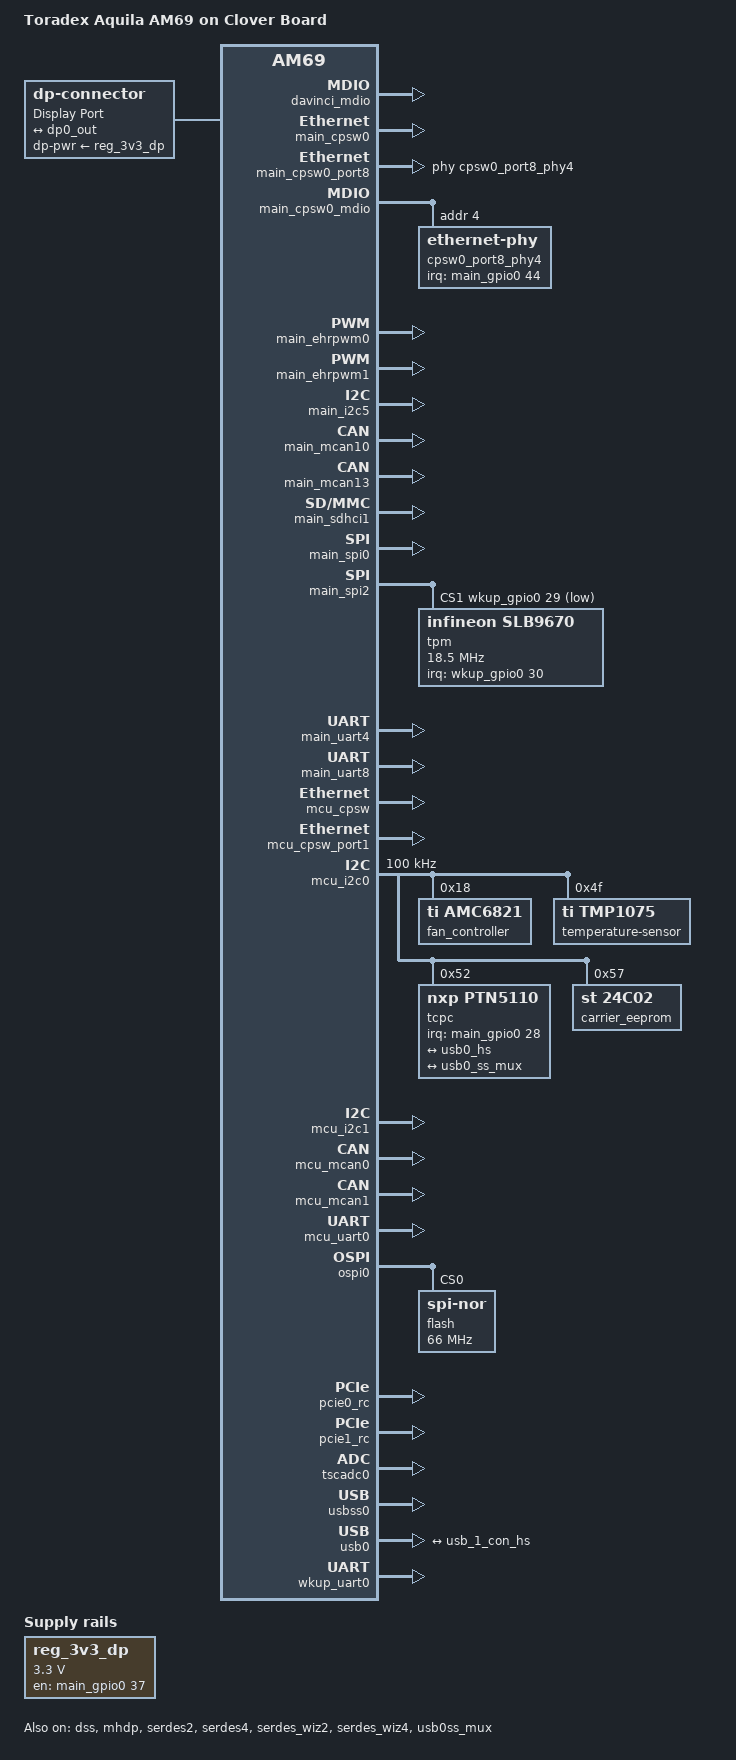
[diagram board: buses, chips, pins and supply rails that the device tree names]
// SPDX-License-Identifier: GPL-2.0-or-later OR MIT
/*
 * Copyright (C) 2025 Toradex
 *
 * https://www.toradex.com/computer-on-modules/aquila-arm-family/ti-am69
 * https://www.toradex.com/products/carrier-board/clover
 */

/dts-v1/;

#include <dt-bindings/pwm/pwm.h>
#include "k3-am69-aquila.dtsi"

/ {
	model = "Toradex Aquila AM69 on Clover Board";
	compatible = "toradex,aquila-am69-clover",
		     "toradex,aquila-am69",
		     "ti,j784s4";

	aliases {
		eeprom1 = &carrier_eeprom;
	};

	reg_3v3_dp: regulator-3v3-dp {
		compatible = "regulator-fixed";
		pinctrl-names = "default";
		pinctrl-0 = <&pinctrl_gpio_21_dp>;
		/* Aquila GPIO_21_DP (AQUILA B57) */
		gpio = <&main_gpio0 37 GPIO_ACTIVE_HIGH>;
		enable-active-high;
		regulator-max-microvolt = <3300000>;
		regulator-min-microvolt = <3300000>;
		regulator-name = "DP_3V3";
		startup-delay-us = <10000>;
	};

	/* Aquila DP_1 */
	dp-connector {
		compatible = "dp-connector";
		dp-pwr-supply = <&reg_3v3_dp>;
		label = "Display Port";
		type = "full-size";

		port {
			dp_connector_in: endpoint {
				remote-endpoint = <&dp0_out>;
			};
		};
	};
};

/* On-module ETH_1 MDIO */
&davinci_mdio {
	status = "okay";
};

&dp0_ports {
	port@4 {
		reg = <4>;
		dp0_out: endpoint {
			remote-endpoint = <&dp_connector_in>;
		};
	};
};

&dss {
	status = "okay";
};

&main0_thermal {
	cooling-maps {
		map0 {
			cooling-device = <&fan 1 1>;
			trip = <&main0_alert0>;
		};

		map1 {
			cooling-device = <&fan 2 2>;
			trip = <&main0_alert1>;
		};
	};
};

&main1_thermal {
	cooling-maps {
		map0 {
			cooling-device = <&fan 1 1>;
			trip = <&main1_alert0>;
		};

		map1 {
			cooling-device = <&fan 2 2>;
			trip = <&main1_alert1>;
		};
	};
};

&main2_thermal {
	cooling-maps {
		map0 {
			cooling-device = <&fan 1 1>;
			trip = <&main2_alert0>;
		};

		map1 {
			cooling-device = <&fan 2 2>;
			trip = <&main2_alert1>;
		};
	};
};

&main3_thermal {
	cooling-maps {
		map0 {
			cooling-device = <&fan 1 1>;
			trip = <&main3_alert0>;
		};

		map1 {
			cooling-device = <&fan 2 2>;
			trip = <&main3_alert1>;
		};
	};
};

&main4_thermal {
	cooling-maps {
		map0 {
			cooling-device = <&fan 1 1>;
			trip = <&main4_alert0>;
		};

		map1 {
			cooling-device = <&fan 2 2>;
			trip = <&main4_alert1>;
		};
	};
};

/* Aquila ETH_2 */
&main_cpsw0 {
	status = "okay";
};

/* Aquila ETH_2 SGMII PHY */
&main_cpsw0_port8  {
	phy-handle = <&cpsw0_port8_phy4>;
	status = "okay";
};

/* Aquila ETH_2_XGMII_MDIO */
&main_cpsw0_mdio {
	status = "okay";

	cpsw0_port8_phy4: ethernet-phy@4 {
		reg = <4>;
		pinctrl-names = "default";
		pinctrl-0 = <&pinctrl_eth2_int>;
		interrupt-parent = <&main_gpio0>;
		interrupts = <44 IRQ_TYPE_EDGE_FALLING>;
	};
};

/* Aquila PWM_1 */
&main_ehrpwm0 {
	status = "okay";
};

/* Aquila PWM_2 */
&main_ehrpwm1 {
	status = "okay";
};

&main_gpio0 {
	pinctrl-names = "default";
	pinctrl-0 = <&pinctrl_gpio_01>, /* Aquila GPIO_01 */
		    <&pinctrl_gpio_02>, /* Aquila GPIO_02 */
		    <&pinctrl_gpio_03>; /* Aquila GPIO_03 */
};

/* Aquila I2C_6 */
&main_i2c5 {
	status = "okay";
};

/* Aquila CAN_1 */
&main_mcan10 {
	status = "okay";
};

/* Aquila CAN_3 */
&main_mcan13 {
	status = "okay";
};

/* Aquila SD_1 */
&main_sdhci1 {
	status = "okay";
};

/* Aquila SPI_2 */
&main_spi0 {
	status = "okay";
};

/* Aquila SPI_1 */
&main_spi2 {
	pinctrl-0 = <&pinctrl_main_spi2>,
		    <&pinctrl_main_spi2_cs0>,
		    <&pinctrl_gpio_05>;
	cs-gpios = <&main_gpio0 39 GPIO_ACTIVE_LOW>,
		   <&wkup_gpio0 29 GPIO_ACTIVE_LOW>;
	status = "okay";

	tpm@1 {
		compatible = "infineon,slb9670", "tcg,tpm_tis-spi";
		reg = <1>;
		pinctrl-names = "default";
		pinctrl-0 = <&pinctrl_gpio_06>;
		interrupt-parent = <&wkup_gpio0>;
		interrupts = <30 IRQ_TYPE_EDGE_FALLING>;
		spi-max-frequency = <18500000>;
	};
};

/* Aquila UART_1 */
&main_uart4 {
	status = "okay";
};

/* Aquila UART_3, used as the Linux console */
&main_uart8 {
	status = "okay";
};

&mcu_cpsw {
	status = "okay";
};

/* On-module ETH_1 RGMII */
&mcu_cpsw_port1 {
	status = "okay";
};

/* Aquila I2C_1 */
&mcu_i2c0 {
	clock-frequency = <100000>;
	status = "okay";

	fan_controller: fan@18 {
		compatible = "ti,amc6821";
		reg = <0x18>;
		#pwm-cells = <2>;

		fan: fan {
			cooling-levels = <102 179 255>;
			#cooling-cells = <2>;
			pwms = <&fan_controller 40000 PWM_POLARITY_INVERTED>;
		};
	};

	temperature-sensor@4f {
		compatible = "ti,tmp1075";
		reg = <0x4f>;
	};

	/* USB-C OTG (TCPC USB PD PHY) */
	tcpc@52 {
		compatible = "nxp,ptn5110", "tcpci";
		reg = <0x52>;
		pinctrl-names = "default";
		pinctrl-0 = <&pinctrl_usb1_int>;
		interrupt-parent = <&main_gpio0>;
		interrupts = <28 IRQ_TYPE_EDGE_FALLING>;

		connector {
			compatible = "usb-c-connector";
			data-role = "dual";
			label = "USB-C OTG";
			power-role = "dual";
			try-power-role = "sink";
			self-powered;
			source-pdos = <PDO_FIXED(5000, 3000, PDO_FIXED_USB_COMM)>;
			sink-pdos = <PDO_FIXED(5000, 0, PDO_FIXED_USB_COMM)>;
			op-sink-microwatt = <0>;

			ports {
				#address-cells = <1>;
				#size-cells = <0>;

				port@0 {
					reg = <0>;

					usb_1_con_hs: endpoint {
						remote-endpoint = <&usb0_hs>;
					};
				};

				port@1 {
					reg = <1>;

					usb_1_con_ss: endpoint {
						remote-endpoint = <&usb0_ss_mux>;
					};
				};
			};
		};
	};

	carrier_eeprom: eeprom@57 {
		compatible = "st,24c02", "atmel,24c02";
		reg = <0x57>;
		pagesize = <16>;
	};
};

/* Aquila I2C_2 */
&mcu_i2c1 {
	status = "okay";
};

/* Aquila CAN_2 */
&mcu_mcan0 {
	status = "okay";
};

/* Aquila CAN_4 */
&mcu_mcan1 {
	status = "okay";
};

/* Aquila UART_4 */
&mcu_uart0 {
	status = "okay";
};

&mhdp {
	status = "okay";
};

/* Aquila QSPI_1 */
&ospi0 {
	pinctrl-names = "default";
	pinctrl-0 = <&pinctrl_mcu_ospi0_4bit>, <&pinctrl_mcu_ospi0_cs0>;
	status = "okay";

	flash@0 {
		compatible = "jedec,spi-nor";
		reg = <0>;
		spi-max-frequency = <66000000>;
		spi-rx-bus-width = <4>;
		spi-tx-bus-width = <4>;
		cdns,read-delay = <0>;
		cdns,tchsh-ns = <3>;
		cdns,tsd2d-ns = <10>;
		cdns,tshsl-ns = <30>;
		cdns,tslch-ns = <8>;
	};
};

/* Aquila PCIE_1 */
&pcie0_rc {
	status = "okay";
};

/* Aquila PCIE_2 */
&pcie1_rc {
	status = "okay";
};

&serdes2 {
	status = "okay";
};

&serdes4 {
	status = "okay";
};

&serdes_wiz2 {
	status = "okay";
};

&serdes_wiz4 {
	status = "okay";
};

/* Aquila ADC_[1-4] */
&tscadc0 {
	status = "okay";
};

&usbss0 {
	status = "okay";
};

&usb0ss_mux {
	status = "okay";

	port {
		usb0_ss_mux: endpoint {
			remote-endpoint = <&usb_1_con_ss>;
		};
	};
};

&usb0 {
	status = "okay";

	port {
		usb0_hs: endpoint {
			remote-endpoint = <&usb_1_con_hs>;
		};
	};
};

&wkup0_thermal {
	cooling-maps {
		map0 {
			cooling-device = <&fan 1 1>;
			trip = <&wkup0_alert0>;
		};

		map1 {
			cooling-device = <&fan 2 2>;
			trip = <&wkup0_alert1>;
		};
	};
};

&wkup1_thermal {
	cooling-maps {
		map0 {
			cooling-device = <&fan 1 1>;
			trip = <&wkup1_alert0>;
		};

		map1 {
			cooling-device = <&fan 2 2>;
			trip = <&wkup1_alert1>;
		};
	};
};

&wkup_gpio0 {
	pinctrl-names = "default";
	pinctrl-0 = <&pinctrl_gpio_04>; /* Aquila GPIO_04 */
};

/* Aquila UART_2 */
&wkup_uart0 {
	status = "okay";
};
